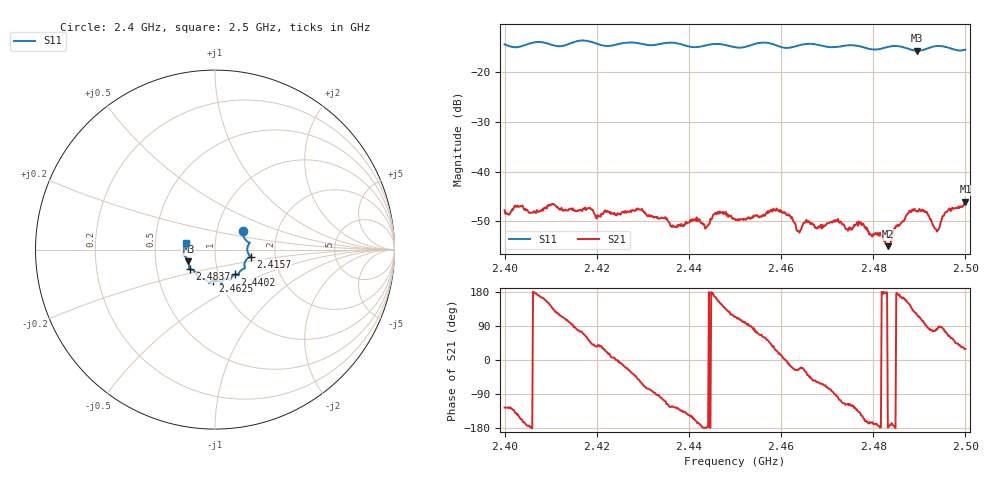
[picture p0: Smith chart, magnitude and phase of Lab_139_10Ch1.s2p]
# Hz S RI R 50
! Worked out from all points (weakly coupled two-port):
!   601 points, 2.4 GHz to 2.5 GHz, reference 50 ohm
!   highest |S21| = -46.05 dB at 2.5 GHz (marker M1); lowest = -55.0 dB at 2.4832 GHz (marker M2)
!   lowest |S11| = -15.8 dB at 2.4895 GHz (marker M3), VSWR 1.39, Z = 36.8 - j4.99 ohm
!   |S11| at or under -10 dB: start of sweep to end of sweep
!   S12 and S22 are empty: the file has one direction only
!   S11 on the Smith chart (normalised r, x): 2.4 GHz: 1.33, +0.29; 2.4157 GHz: 1.49, -0.12; 2.4402 GHz: 1.20, -0.34; 2.4625 GHz: 0.92, -0.33; 2.4837 GHz: 0.74, -0.17; 2.5 GHz: 0.72, +0.06
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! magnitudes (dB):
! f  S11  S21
! 2.4 GHz  -14.5  -47.8
! 2.4157 GHz  -13.9  -47.9
! 2.4167 GHz  -13.8  -47.7
! 2.4333 GHz  -14.5  -49.4
! 2.4368 GHz  -14.2  -51.1
! 2.4402 GHz  -15.0  -50.2
! 2.444 GHz  -14.7  -50.9
! 2.4468 GHz  -14.5  -48.3
! 2.45 GHz  -15.1  -49.5
! 2.4588 GHz  -14.7  -47.9
! 2.4625 GHz  -15.1  -49.6
! 2.4638 GHz  -14.7  -52.1
! 2.4667 GHz  -14.4  -50.5
! 2.4773 GHz  -15.0  -50.2
! 2.4832 GHz  -15.1  -55.0
! 2.4833 GHz  -15.0  -54.9
! 2.4837 GHz  -14.9  -54.6
! 2.4848 GHz  -14.8  -51.2
! 2.4895 GHz  -15.8  -48.0
! 2.4938 GHz  -14.9  -52.0
! 2.496 GHz  -15.1  -48.1
! 2.5 GHz  -15.6  -46.0
